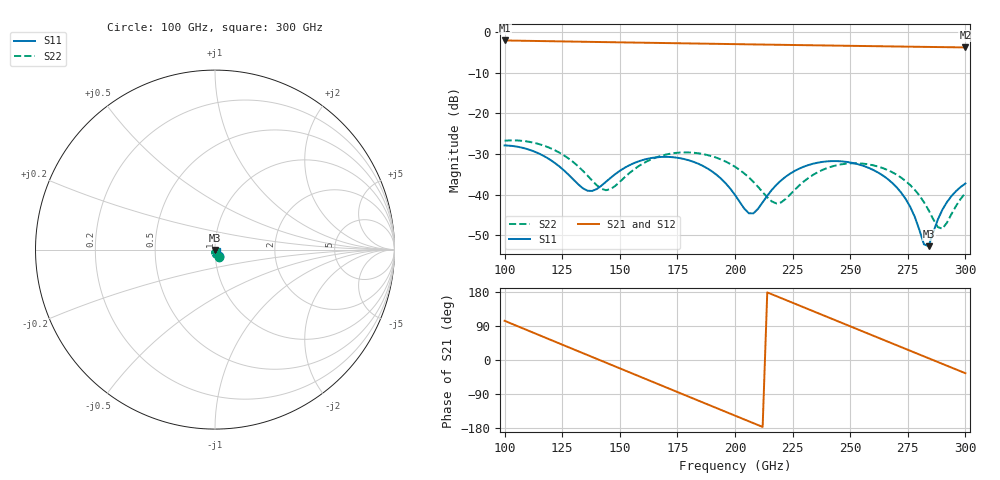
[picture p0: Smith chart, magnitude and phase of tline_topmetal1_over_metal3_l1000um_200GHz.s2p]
#  GHZ S DB R 50
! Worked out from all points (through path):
!   101 points, 100 GHz to 300 GHz, reference 50 ohm
!   highest |S21| = -1.99 dB at 100 GHz (marker M1); lowest = -3.7 dB at 300 GHz (marker M2)
!   group delay of S21, straight-line fit = 6.92 ps
!   lowest |S11| = -52.7 dB at 284 GHz (marker M3), VSWR 1.00, Z = 50.1 - j0.218 ohm
!   |S11| at or under -10 dB: start of sweep to end of sweep
!   |S22| runs from -48.4 to -26.6 dB; largest |S21 - S12| = 1.4e-13
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100  -27.87 -60.7  -1.99 103.4  -1.99 103.4  -26.72 -64.6
116  -30.17 -89.4  -2.14 63.2  -2.14 63.2  -27.73 -97.0
134  -38.45 -83.7  -2.31 18.0  -2.31 18.0  -34.15 -119.4
138  -39.10 -64.2  -2.35 8.0  -2.35 8.0  -36.54 -114.5
144  -36.84 -43.8  -2.40 -7.0  -2.40 -7.0  -38.92 -88.8
156  -32.27 -47.4  -2.51 -37.0  -2.51 -37.0  -33.86 -59.7
168  -30.71 -67.8  -2.62 -67.0  -2.62 -67.0  -30.42 -74.6
184  -32.37 -98.4  -2.76 -106.9  -2.76 -106.9  -29.81 -105.2
192  -35.12 -111.0  -2.83 -126.9  -2.83 -126.9  -30.91 -120.4
200  -40.08 -112.9  -2.90 -146.8  -2.90 -146.8  -33.13 -133.5
206  -44.60 -83.9  -2.95 -161.7  -2.95 -161.7  -35.76 -139.2
208  -44.62 -66.0  -2.97 -166.7  -2.97 -166.7  -36.86 -139.5
218  -37.58 -36.1  -3.05 168.4  -3.05 168.4  -42.17 -107.7
234  -32.37 -60.9  -3.18 128.7  -3.18 128.7  -35.09 -77.6
250  -32.07 -95.2  -3.32 88.9  -3.32 88.9  -32.29 -104.3
268  -36.99 -132.9  -3.46 44.3  -3.46 44.3  -34.41 -139.6
276  -42.96 -142.7  -3.53 24.5  -3.53 24.5  -37.62 -152.1
282  -52.25 -111.3  -3.57 9.6  -3.57 9.6  -41.84 -154.5
284  -52.71 -69.9  -3.59 4.7  -3.59 4.7  -43.80 -151.2
288  -46.18 -35.2  -3.62 -5.2  -3.62 -5.2  -47.98 -125.7
290  -43.74 -33.1  -3.64 -10.2  -3.64 -10.2  -48.42 -101.4
300  -37.25 -46.1  -3.71 -34.9  -3.71 -34.9  -39.60 -63.6
